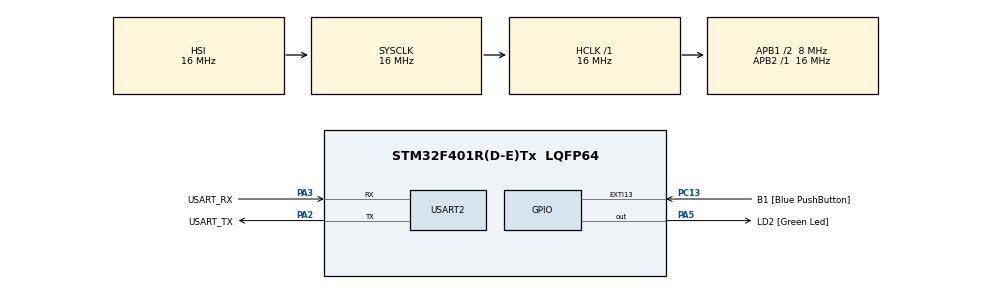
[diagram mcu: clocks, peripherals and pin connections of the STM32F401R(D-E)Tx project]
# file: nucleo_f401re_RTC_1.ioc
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Mcu.Family=STM32F4
Mcu.Name=STM32F401R(D-E)Tx
Mcu.Package=LQFP64
NVIC.PriorityGroup=NVIC_PRIORITYGROUP_0
NVIC.RTC_Alarm_IRQn=true\:0\:0\:false\:false\:true\:true\:true\:true
PA13.GPIO_Label=TMS
PA13.Mode=Serial_Wire
PA13.Signal=SYS_JTMS-SWDIO
PA14.GPIO_Label=TCK
PA14.Mode=Serial_Wire
PA14.Signal=SYS_JTCK-SWCLK
PA2.GPIO_Label=USART_TX
PA2.GPIO_Mode=GPIO_MODE_AF_PP
PA2.GPIO_PuPd=GPIO_NOPULL
PA2.GPIO_Speed=GPIO_SPEED_FREQ_LOW
PA2.Mode=Asynchronous
PA2.Signal=USART2_TX
PA3.GPIO_Label=USART_RX
PA3.GPIO_Mode=GPIO_MODE_AF_PP
PA3.GPIO_PuPd=GPIO_NOPULL
PA3.GPIO_Speed=GPIO_SPEED_FREQ_LOW
PA3.Mode=Asynchronous
PA3.Signal=USART2_RX
PA5.GPIO_Label=LD2 [Green Led]
PA5.GPIO_Mode=GPIO_MODE_OUTPUT_PP
PA5.GPIO_PuPd=GPIO_NOPULL
PA5.GPIO_Speed=GPIO_SPEED_FREQ_LOW
PA5.Signal=GPIO_Output
PB3.GPIO_Label=SWO
PB3.Signal=SYS_JTDO-SWO
PC13-ANTI_TAMP.GPIO_Label=B1 [Blue PushButton]
PC13-ANTI_TAMP.GPIO_ModeDefaultEXTI=GPIO_MODE_IT_FALLING
PC13-ANTI_TAMP.GPIO_PuPd=GPIO_NOPULL
PC13-ANTI_TAMP.Signal=GPXTI13
PC14-OSC32_IN.Mode=LSE-External-Oscillator
PC14-OSC32_IN.Signal=RCC_OSC32_IN
PC15-OSC32_OUT.Mode=LSE-External-Oscillator
PC15-OSC32_OUT.Signal=RCC_OSC32_OUT
PH0\ -\ OSC_IN.Mode=HSE-External-Clock-Source
PH0\ -\ OSC_IN.Signal=RCC_OSC_IN
PH1\ -\ OSC_OUT.Mode=HSE-External-Clock-Source
PH1\ -\ OSC_OUT.Signal=RCC_OSC_OUT
ProjectManager.HeapSize=0x200
ProjectManager.StackSize=0x400
ProjectManager.TargetToolchain=STM32CubeIDE
RCC.48MHZClocksFreq_Value=48000000
RCC.AHBFreq_Value=16000000
RCC.APB1CLKDivider=RCC_HCLK_DIV2
RCC.APB1Freq_Value=8000000
RCC.APB1TimFreq_Value=16000000
RCC.APB2Freq_Value=16000000
RCC.APB2TimFreq_Value=16000000
RCC.CortexFreq_Value=16000000
RCC.HCLKFreq_Value=16000000
RCC.HSE_VALUE=8000000
RCC.HSI_VALUE=16000000
RCC.PLLM=4
RCC.PLLN=72
RCC.PLLP=RCC_PLLP_DIV4
RCC.PLLQ=3
RCC.PLLSourceVirtual=RCC_PLLSOURCE_HSE
RCC.RCC_RTC_Clock_Source=RCC_RTCCLKSOURCE_LSE
RCC.RCC_RTC_Clock_SourceVirtual=RCC_RTCCLKSOURCE_LSE
RCC.SYSCLKFreq_VALUE=16000000
RCC.VCOOutputFreq_Value=144000000
RTC.Alarm=RTC_ALARM_A
RTC.AlarmMaskMinutes=RTC_ALARMMASK_MINUTES
RTC.Minutes_A=1
RTC.Seconds_A=0
USART2.VirtualMode=VM_ASYNC
VP_RTC_VS_RTC_Activate.Mode=RTC_Enabled
VP_RTC_VS_RTC_Alarm_A_Intern.Mode=Alarm A
VP_RTC_VS_RTC_Calendar.Mode=RTC_Calendar
board=NUCLEO-F401RE

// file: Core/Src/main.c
/* USER CODE BEGIN Header */
/**
  ******************************************************************************
  * @file           : main.c
  * @brief          : Main program body
  ******************************************************************************
  * @attention
  *
  * Copyright (c) 2023 STMicroelectronics.
  * All rights reserved.
  *
  * This software is licensed under terms that can be found in the LICENSE file
  * in the root directory of this software component.
  * If no LICENSE file comes with this software, it is provided AS-IS.
  *
  ******************************************************************************
  */
/* USER CODE END Header */
#include "main.h"

/* USER CODE BEGIN Includes */
#include <string.h>
#include "stm32f4xx_hal.h"
/* USER CODE END Includes */

RTC_HandleTypeDef hrtc;

UART_HandleTypeDef huart2;

/* USER CODE BEGIN PV */
RTC_DateTypeDef rtc_date;
RTC_TimeTypeDef rtc_time;
RTC_AlarmTypeDef  rtc_alarm;
/* USER CODE END PV */

void SystemClock_Config(void);
static void MX_GPIO_Init(void);
static void MX_USART2_UART_Init(void);
static void MX_RTC_Init(void);

/* USER CODE BEGIN 0 */
uint8_t B2D(uint8_t byte)
{
  uint8_t low, high;
  low = byte & 0x0F;
  high = ((byte >> 4) & 0x0F) * 10;
  return high + low;
}

uint8_t D2B(uint8_t byte)
{
    return ((byte/10)<<4) + (byte%10);
}

void HAL_RTC_AlarmAEventCallback(RTC_HandleTypeDef *hrtc)
{
  char mag[] = "Alarm!!!\r\n";
  HAL_UART_Transmit(&huart2, (uint8_t*)mag, strlen(mag), 100);

  RTC_AlarmTypeDef sAlarm;
  RTC_TimeTypeDef sTime;

  HAL_RTC_GetTime(hrtc, &sTime, RTC_FORMAT_BCD);

  if(sTime.Minutes == 59)
  {
    sAlarm.AlarmTime.Hours = D2B(B2D(sTime.Hours)+1);
    sAlarm.AlarmTime.Minutes = 0x0;
    sAlarm.AlarmTime.Seconds = 0x0;

  }
  else
  {
    sAlarm.AlarmTime.Hours = sTime.Hours;
    sAlarm.AlarmTime.Minutes = D2B(B2D(sTime.Minutes)+1);
    sAlarm.AlarmTime.Seconds = 0x0;
  }

  sAlarm.Alarm = RTC_ALARM_A;
  if (HAL_RTC_SetAlarm_IT(hrtc, &sAlarm, RTC_FORMAT_BCD) == HAL_OK)
    {
	  HAL_GPIO_TogglePin(GPIOA, GPIO_PIN_5);
    }
  else if (HAL_RTC_SetAlarm_IT(hrtc, &sAlarm, RTC_FORMAT_BCD) != HAL_OK)
  {
    Error_Handler();
  }
  MX_RTC_Init();

}
/* USER CODE END 0 */

int main(void)
{
  /* USER CODE BEGIN 1 */
	// Initialize HAL Library
	    HAL_Init();

	    // Initialize RTC
	    hrtc.Instance = RTC;
	    // ... (configure other RTC parameters)

	    // Initialize RTC HAL
	    HAL_RTC_Init(&hrtc);

	    // Set the Alarm A
	    RTC_AlarmTypeDef alarm;
	    // ... (configure alarm parameters)
	    HAL_RTC_SetAlarm_IT(&hrtc, &alarm, RTC_FORMAT_BIN);

  /* USER CODE END 1 */

  /* MCU Configuration--------------------------------------------------------*/

  /* Reset of all peripherals, Initializes the Flash interface and the Systick. */
  HAL_Init();

  /* Configure the system clock */
  SystemClock_Config();

  /* Initialize all configured peripherals */
  MX_GPIO_Init();
  MX_USART2_UART_Init();
  MX_RTC_Init();

  /* Infinite loop */
  /* USER CODE BEGIN WHILE */
  while (1)
  {
	   HAL_RTC_GetTime(&hrtc, &rtc_time, RTC_FORMAT_BCD);
	   HAL_RTC_GetDate(&hrtc, &rtc_date, RTC_FORMAT_BCD);
	    char msg[21]; //YYYY-MM-DD HH:mm:SS
	    sprintf(msg, "%04d-%02d-%02d %02d:%02d:%02d\r\n",
	     B2D(rtc_date.Year)+2000, B2D(rtc_date.Month), B2D(rtc_date.Date),
	     B2D(rtc_time.Hours), B2D(rtc_time.Minutes), B2D(rtc_time.Seconds));

	    HAL_UART_Transmit(&huart2, (uint8_t*)msg, sizeof(msg), 100);
	    HAL_Delay(1000);

    /* USER CODE END WHILE */

  }
}

void SystemClock_Config(void)
{
  RCC_OscInitTypeDef RCC_OscInitStruct = {0};
  RCC_ClkInitTypeDef RCC_ClkInitStruct = {0};

  /** Configure the main internal regulator output voltage
  */
  __HAL_RCC_PWR_CLK_ENABLE();
  __HAL_PWR_VOLTAGESCALING_CONFIG(PWR_REGULATOR_VOLTAGE_SCALE2);

  /** Initializes the RCC Oscillators according to the specified parameters
  * in the RCC_OscInitTypeDef structure.
  */
  RCC_OscInitStruct.OscillatorType = RCC_OSCILLATORTYPE_HSI|RCC_OSCILLATORTYPE_LSE;
  RCC_OscInitStruct.LSEState = RCC_LSE_ON;
  RCC_OscInitStruct.HSIState = RCC_HSI_ON;
  RCC_OscInitStruct.HSICalibrationValue = RCC_HSICALIBRATION_DEFAULT;
  RCC_OscInitStruct.PLL.PLLState = RCC_PLL_NONE;
  if (HAL_RCC_OscConfig(&RCC_OscInitStruct) != HAL_OK)
  {
    Error_Handler();
  }

  /** Initializes the CPU, AHB and APB buses clocks
  */
  RCC_ClkInitStruct.ClockType = RCC_CLOCKTYPE_HCLK|RCC_CLOCKTYPE_SYSCLK
                              |RCC_CLOCKTYPE_PCLK1|RCC_CLOCKTYPE_PCLK2;
  RCC_ClkInitStruct.SYSCLKSource = RCC_SYSCLKSOURCE_HSI;
  RCC_ClkInitStruct.AHBCLKDivider = RCC_SYSCLK_DIV1;
  RCC_ClkInitStruct.APB1CLKDivider = RCC_HCLK_DIV2;
  RCC_ClkInitStruct.APB2CLKDivider = RCC_HCLK_DIV1;

  if (HAL_RCC_ClockConfig(&RCC_ClkInitStruct, FLASH_LATENCY_0) != HAL_OK)
  {
    Error_Handler();
  }
}

static void MX_RTC_Init(void)
{

  RTC_TimeTypeDef sTime = {0};
  RTC_DateTypeDef sDate = {0};
  RTC_AlarmTypeDef sAlarm = {0};

  /** Initialize RTC Only
  */
  hrtc.Instance = RTC;
  hrtc.Init.HourFormat = RTC_HOURFORMAT_24;
  hrtc.Init.AsynchPrediv = 127;
  hrtc.Init.SynchPrediv = 255;
  hrtc.Init.OutPut = RTC_OUTPUT_DISABLE;
  hrtc.Init.OutPutPolarity = RTC_OUTPUT_POLARITY_HIGH;
  hrtc.Init.OutPutType = RTC_OUTPUT_TYPE_OPENDRAIN;
  if (HAL_RTC_Init(&hrtc) != HAL_OK)
  {
    Error_Handler();
  }

  /** Initialize RTC and set the Time and Date
  */
  sTime.Hours = 0x0;
  sTime.Minutes = 0x0;
  sTime.Seconds = 0x0;
  sTime.DayLightSaving = RTC_DAYLIGHTSAVING_NONE;
  sTime.StoreOperation = RTC_STOREOPERATION_RESET;
  if (HAL_RTC_SetTime(&hrtc, &sTime, RTC_FORMAT_BCD) != HAL_OK)
  {
    Error_Handler();
  }
  sDate.WeekDay = RTC_WEEKDAY_MONDAY;
  sDate.Month = RTC_MONTH_JANUARY;
  sDate.Date = 0x1;
  sDate.Year = 0x0;

  if (HAL_RTC_SetDate(&hrtc, &sDate, RTC_FORMAT_BCD) != HAL_OK)
  {
    Error_Handler();
  }

  /** Enable the Alarm A
  */
  sAlarm.AlarmTime.Hours = 0x0;
  sAlarm.AlarmTime.Minutes = 0x1;
  sAlarm.AlarmTime.Seconds = 0x0;
  sAlarm.AlarmTime.SubSeconds = 0x0;
  sAlarm.AlarmTime.DayLightSaving = RTC_DAYLIGHTSAVING_NONE;
  sAlarm.AlarmTime.StoreOperation = RTC_STOREOPERATION_RESET;
  sAlarm.AlarmMask = RTC_ALARMMASK_MINUTES;
  sAlarm.AlarmSubSecondMask = RTC_ALARMSUBSECONDMASK_ALL;
  sAlarm.AlarmDateWeekDaySel = RTC_ALARMDATEWEEKDAYSEL_DATE;
  sAlarm.AlarmDateWeekDay = 0x1;
  sAlarm.Alarm = RTC_ALARM_A;
  if (HAL_RTC_SetAlarm_IT(&hrtc, &sAlarm, RTC_FORMAT_BCD) != HAL_OK)
  {
    Error_Handler();
  }

}

static void MX_USART2_UART_Init(void)
{

  huart2.Instance = USART2;
  huart2.Init.BaudRate = 115200;
  huart2.Init.WordLength = UART_WORDLENGTH_8B;
  huart2.Init.StopBits = UART_STOPBITS_1;
  huart2.Init.Parity = UART_PARITY_NONE;
  huart2.Init.Mode = UART_MODE_TX_RX;
  huart2.Init.HwFlowCtl = UART_HWCONTROL_NONE;
  huart2.Init.OverSampling = UART_OVERSAMPLING_16;
  if (HAL_UART_Init(&huart2) != HAL_OK)
  {
    Error_Handler();
  }

}

static void MX_GPIO_Init(void)
{
  GPIO_InitTypeDef GPIO_InitStruct = {0};

  /* GPIO Ports Clock Enable */
  __HAL_RCC_GPIOC_CLK_ENABLE();
  __HAL_RCC_GPIOH_CLK_ENABLE();
  __HAL_RCC_GPIOA_CLK_ENABLE();
  __HAL_RCC_GPIOB_CLK_ENABLE();

  /*Configure GPIO pin Output Level */
  HAL_GPIO_WritePin(LD2_GPIO_Port, LD2_Pin, GPIO_PIN_RESET);

  /*Configure GPIO pin : B1_Pin */
  GPIO_InitStruct.Pin = B1_Pin;
  GPIO_InitStruct.Mode = GPIO_MODE_IT_FALLING;
  GPIO_InitStruct.Pull = GPIO_NOPULL;
  HAL_GPIO_Init(B1_GPIO_Port, &GPIO_InitStruct);

  /*Configure GPIO pin : LD2_Pin */
  GPIO_InitStruct.Pin = LD2_Pin;
  GPIO_InitStruct.Mode = GPIO_MODE_OUTPUT_PP;
  GPIO_InitStruct.Pull = GPIO_NOPULL;
  GPIO_InitStruct.Speed = GPIO_SPEED_FREQ_LOW;
  HAL_GPIO_Init(LD2_GPIO_Port, &GPIO_InitStruct);

}

void Error_Handler(void)
{
  __disable_irq();
  while (1)
  {
  }
}
